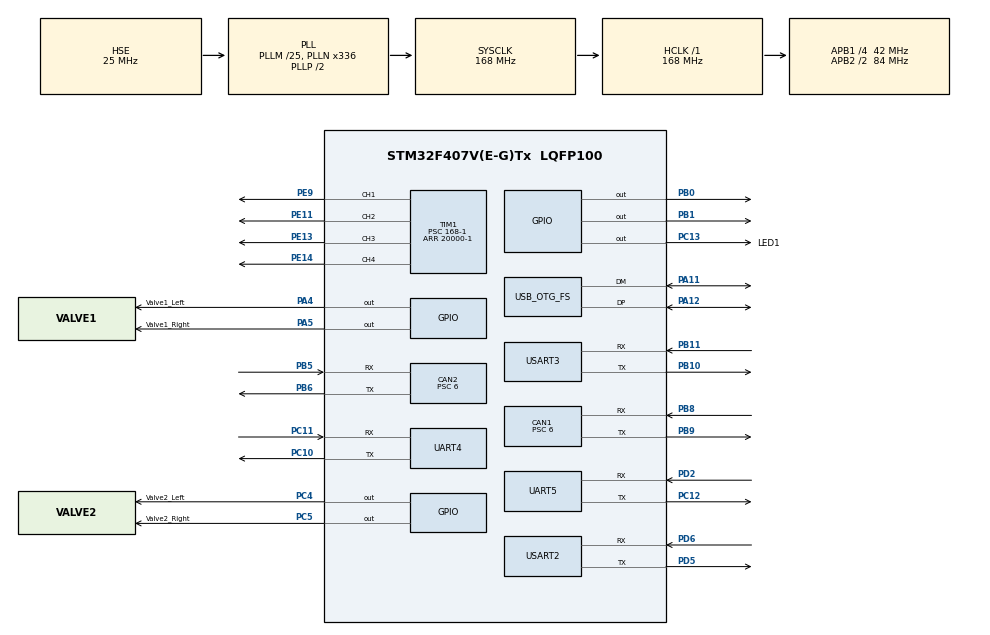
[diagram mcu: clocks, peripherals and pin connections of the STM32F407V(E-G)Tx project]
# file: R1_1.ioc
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CAN1.BS1=CAN_BS1_3TQ
CAN1.BS2=CAN_BS2_3TQ
CAN1.CalculateBaudRate=1000000
CAN1.CalculateTimeBit=1000
CAN1.CalculateTimeQuantum=142.85714285714286
CAN1.Prescaler=6
CAN2.BS1=CAN_BS1_3TQ
CAN2.BS2=CAN_BS2_3TQ
CAN2.CalculateBaudRate=1000000
CAN2.CalculateTimeBit=1000
CAN2.CalculateTimeQuantum=142.85714285714286
CAN2.Prescaler=6
Dma.Request0=UART4_RX
Dma.Request1=UART5_RX
Dma.Request2=USART2_RX
Dma.Request3=USART2_TX
Dma.Request4=USART3_RX
Dma.Request5=USART3_TX
Dma.UART4_RX.0.Direction=DMA_PERIPH_TO_MEMORY
Dma.UART4_RX.0.FIFOMode=DMA_FIFOMODE_DISABLE
Dma.UART4_RX.0.Instance=DMA1_Stream2
Dma.UART4_RX.0.MemDataAlignment=DMA_MDATAALIGN_BYTE
Dma.UART4_RX.0.MemInc=DMA_MINC_ENABLE
Dma.UART4_RX.0.Mode=DMA_NORMAL
Dma.UART4_RX.0.PeriphDataAlignment=DMA_PDATAALIGN_BYTE
Dma.UART4_RX.0.PeriphInc=DMA_PINC_DISABLE
Dma.UART4_RX.0.Priority=DMA_PRIORITY_LOW
Dma.UART5_RX.1.Direction=DMA_PERIPH_TO_MEMORY
Dma.UART5_RX.1.FIFOMode=DMA_FIFOMODE_DISABLE
Dma.UART5_RX.1.Instance=DMA1_Stream0
Dma.UART5_RX.1.MemDataAlignment=DMA_MDATAALIGN_BYTE
Dma.UART5_RX.1.MemInc=DMA_MINC_ENABLE
Dma.UART5_RX.1.Mode=DMA_NORMAL
Dma.UART5_RX.1.PeriphDataAlignment=DMA_PDATAALIGN_BYTE
Dma.UART5_RX.1.PeriphInc=DMA_PINC_DISABLE
Dma.UART5_RX.1.Priority=DMA_PRIORITY_LOW
Dma.USART2_RX.2.Direction=DMA_PERIPH_TO_MEMORY
Dma.USART2_RX.2.FIFOMode=DMA_FIFOMODE_DISABLE
Dma.USART2_RX.2.Instance=DMA1_Stream5
Dma.USART2_RX.2.MemDataAlignment=DMA_MDATAALIGN_BYTE
Dma.USART2_RX.2.MemInc=DMA_MINC_ENABLE
Dma.USART2_RX.2.Mode=DMA_NORMAL
Dma.USART2_RX.2.PeriphDataAlignment=DMA_PDATAALIGN_BYTE
Dma.USART2_RX.2.PeriphInc=DMA_PINC_DISABLE
Dma.USART2_RX.2.Priority=DMA_PRIORITY_LOW
Dma.USART2_TX.3.Direction=DMA_MEMORY_TO_PERIPH
Dma.USART2_TX.3.FIFOMode=DMA_FIFOMODE_DISABLE
Dma.USART2_TX.3.Instance=DMA1_Stream6
Dma.USART2_TX.3.MemDataAlignment=DMA_MDATAALIGN_BYTE
Dma.USART2_TX.3.MemInc=DMA_MINC_ENABLE
Dma.USART2_TX.3.Mode=DMA_NORMAL
Dma.USART2_TX.3.PeriphDataAlignment=DMA_PDATAALIGN_BYTE
Dma.USART2_TX.3.PeriphInc=DMA_PINC_DISABLE
Dma.USART2_TX.3.Priority=DMA_PRIORITY_LOW
Dma.USART3_RX.4.Direction=DMA_PERIPH_TO_MEMORY
Dma.USART3_RX.4.FIFOMode=DMA_FIFOMODE_DISABLE
Dma.USART3_RX.4.Instance=DMA1_Stream1
Dma.USART3_RX.4.MemDataAlignment=DMA_MDATAALIGN_BYTE
Dma.USART3_RX.4.MemInc=DMA_MINC_ENABLE
Dma.USART3_RX.4.Mode=DMA_NORMAL
Dma.USART3_RX.4.PeriphDataAlignment=DMA_PDATAALIGN_BYTE
Dma.USART3_RX.4.PeriphInc=DMA_PINC_DISABLE
Dma.USART3_RX.4.Priority=DMA_PRIORITY_LOW
Dma.USART3_TX.5.Direction=DMA_MEMORY_TO_PERIPH
Dma.USART3_TX.5.FIFOMode=DMA_FIFOMODE_DISABLE
Dma.USART3_TX.5.Instance=DMA1_Stream3
Dma.USART3_TX.5.MemDataAlignment=DMA_MDATAALIGN_BYTE
Dma.USART3_TX.5.MemInc=DMA_MINC_ENABLE
Dma.USART3_TX.5.Mode=DMA_NORMAL
Dma.USART3_TX.5.PeriphDataAlignment=DMA_PDATAALIGN_BYTE
Dma.USART3_TX.5.PeriphInc=DMA_PINC_DISABLE
Dma.USART3_TX.5.Priority=DMA_PRIORITY_LOW
FREERTOS.INCLUDE_uxTaskGetStackHighWaterMark=0
FREERTOS.INCLUDE_uxTaskGetStackHighWaterMark2=0
FREERTOS.INCLUDE_vTaskDelayUntil=1
FREERTOS.Tasks01=defaultTask,0,128,StartDefaultTask,Default,NULL,Dynamic,NULL,NULL
Mcu.Family=STM32F4
Mcu.Name=STM32F407V(E-G)Tx
Mcu.Package=LQFP100
NVIC.CAN1_RX0_IRQn=true\:5\:0\:false\:false\:true\:true\:true\:true\:true
NVIC.CAN1_TX_IRQn=true\:5\:0\:false\:false\:true\:true\:true\:true\:true
NVIC.CAN2_RX1_IRQn=true\:5\:0\:false\:false\:true\:true\:true\:true\:true
NVIC.CAN2_TX_IRQn=true\:5\:0\:false\:false\:true\:true\:true\:true\:true
NVIC.DMA1_Stream0_IRQn=true\:5\:0\:false\:false\:true\:true\:false\:true\:true
NVIC.DMA1_Stream1_IRQn=true\:5\:0\:false\:false\:true\:true\:false\:true\:true
NVIC.DMA1_Stream2_IRQn=true\:5\:0\:false\:false\:true\:true\:false\:true\:true
NVIC.DMA1_Stream3_IRQn=true\:5\:0\:false\:false\:true\:true\:false\:true\:true
NVIC.DMA1_Stream5_IRQn=true\:5\:0\:false\:false\:true\:true\:false\:true\:true
NVIC.DMA1_Stream6_IRQn=true\:5\:0\:false\:false\:true\:true\:false\:true\:true
NVIC.OTG_FS_IRQn=true\:5\:0\:false\:false\:true\:true\:false\:true\:true
NVIC.PriorityGroup=NVIC_PRIORITYGROUP_4
NVIC.TIM3_IRQn=true\:15\:0\:false\:false\:true\:false\:false\:true\:true
NVIC.TimeBase=TIM3_IRQn
NVIC.TimeBaseIP=TIM3
NVIC.UART4_IRQn=true\:5\:0\:false\:false\:true\:true\:true\:true\:true
NVIC.UART5_IRQn=true\:5\:0\:false\:false\:true\:true\:true\:true\:true
NVIC.USART2_IRQn=true\:5\:0\:false\:false\:true\:true\:true\:true\:true
NVIC.USART3_IRQn=true\:5\:0\:false\:false\:true\:true\:true\:true\:true
PA11.Mode=Device_Only
PA11.Signal=USB_OTG_FS_DM
PA12.Mode=Device_Only
PA12.Signal=USB_OTG_FS_DP
PA13.Mode=Serial_Wire
PA13.Signal=SYS_JTMS-SWDIO
PA14.Mode=Serial_Wire
PA14.Signal=SYS_JTCK-SWCLK
PA4.GPIO_Label=Valve1_Left
PA4.PinState=GPIO_PIN_SET
PA4.Signal=GPIO_Output
PA5.GPIO_Label=Valve1_Right
PA5.PinState=GPIO_PIN_SET
PA5.Signal=GPIO_Output
PB0.Signal=GPIO_Output
PB1.Signal=GPIO_Output
PB10.Mode=Asynchronous
PB10.Signal=USART3_TX
PB11.Mode=Asynchronous
PB11.Signal=USART3_RX
PB5.Mode=CAN_Activate
PB5.Signal=CAN2_RX
PB6.Mode=CAN_Activate
PB6.Signal=CAN2_TX
PB8.Mode=CAN_Activate
PB8.Signal=CAN1_RX
PB9.Mode=CAN_Activate
PB9.Signal=CAN1_TX
PC10.Mode=Asynchronous
PC10.Signal=UART4_TX
PC11.Mode=Asynchronous
PC11.Signal=UART4_RX
PC12.Mode=Asynchronous
PC12.Signal=UART5_TX
PC13-ANTI_TAMP.GPIO_Label=LED1
PC13-ANTI_TAMP.PinState=GPIO_PIN_SET
PC13-ANTI_TAMP.Signal=GPIO_Output
PC4.GPIO_Label=Valve2_Left
PC4.Signal=GPIO_Output
PC5.GPIO_Label=Valve2_Right
PC5.Signal=GPIO_Output
PD2.Mode=Asynchronous
PD2.Signal=UART5_RX
PD5.Mode=Asynchronous
PD5.Signal=USART2_TX
PD6.Mode=Asynchronous
PD6.Signal=USART2_RX
PE11.Signal=S_TIM1_CH2
PE13.Signal=S_TIM1_CH3
PE14.Signal=S_TIM1_CH4
PE9.Signal=S_TIM1_CH1
PH0-OSC_IN.Mode=HSE-External-Oscillator
PH0-OSC_IN.Signal=RCC_OSC_IN
PH1-OSC_OUT.Mode=HSE-External-Oscillator
PH1-OSC_OUT.Signal=RCC_OSC_OUT
ProjectManager.HeapSize=0x200
ProjectManager.StackSize=0x400
ProjectManager.TargetToolchain=MDK-ARM V5.32
RCC.48MHZClocksFreq_Value=48000000
RCC.AHBFreq_Value=168000000
RCC.APB1CLKDivider=RCC_HCLK_DIV4
RCC.APB1Freq_Value=42000000
RCC.APB1TimFreq_Value=84000000
RCC.APB2CLKDivider=RCC_HCLK_DIV2
RCC.APB2Freq_Value=84000000
RCC.APB2TimFreq_Value=168000000
RCC.CortexFreq_Value=168000000
RCC.HCLKFreq_Value=168000000
RCC.HSE_VALUE=25000000
RCC.HSI_VALUE=16000000
RCC.LSE_VALUE=32768
RCC.PLLM=25
RCC.PLLN=336
RCC.PLLQ=7
RCC.SYSCLKFreq_VALUE=168000000
RCC.SYSCLKSource=RCC_SYSCLKSOURCE_PLLCLK
RCC.VCOOutputFreq_Value=336000000
SH.S_TIM1_CH1.0=TIM1_CH1,PWM Generation1 CH1
SH.S_TIM1_CH2.0=TIM1_CH2,PWM Generation2 CH2
SH.S_TIM1_CH3.0=TIM1_CH3,PWM Generation3 CH3
SH.S_TIM1_CH4.0=TIM1_CH4,PWM Generation4 CH4
TIM1.Channel-PWM\ Generation1\ CH1=TIM_CHANNEL_1
TIM1.Channel-PWM\ Generation2\ CH2=TIM_CHANNEL_2
TIM1.Channel-PWM\ Generation3\ CH3=TIM_CHANNEL_3
TIM1.Channel-PWM\ Generation4\ CH4=TIM_CHANNEL_4
TIM1.Period=20000-1
TIM1.Prescaler=168-1
UART4.VirtualMode=Asynchronous
UART5.VirtualMode=Asynchronous
USART2.VirtualMode=VM_ASYNC
USART3.VirtualMode=VM_ASYNC
USB_DEVICE.CLASS_NAME_FS=CDC
USB_DEVICE.VirtualMode-CDC_FS=Cdc
USB_DEVICE.VirtualModeFS=Cdc_FS
USB_OTG_FS.VirtualMode=Device_Only
VP_FREERTOS_VS_CMSIS_V1.Mode=CMSIS_V1
VP_SYS_VS_tim3.Mode=TIM3
VP_TIM1_VS_ClockSourceINT.Mode=Internal
VP_USB_DEVICE_VS_USB_DEVICE_CDC_FS.Mode=CDC_FS
board=custom

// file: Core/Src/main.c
/* USER CODE BEGIN Header */
/**
  ******************************************************************************
  * @file           : main.c
  * @brief          : Main program body
  ******************************************************************************
  * @attention
  *
  * Copyright (c) 2023 STMicroelectronics.
  * All rights reserved.
  *
  * This software is licensed under terms that can be found in the LICENSE file
  * in the root directory of this software component.
  * If no LICENSE file comes with this software, it is provided AS-IS.
  *
  ******************************************************************************
  */
/* USER CODE END Header */
#include "main.h"
#include "cmsis_os.h"
#include "can.h"
#include "dma.h"
#include "tim.h"
#include "usart.h"
#include "usb_device.h"
#include "gpio.h"

/* USER CODE BEGIN Includes */
#include "my_core.h"
/* USER CODE END Includes */

void SystemClock_Config(void);
void MX_FREERTOS_Init(void);

int main(void)
{

  /* MCU Configuration--------------------------------------------------------*/

  /* Reset of all peripherals, Initializes the Flash interface and the Systick. */
  HAL_Init();

  /* Configure the system clock */
  SystemClock_Config();

  /* Initialize all configured peripherals */
  MX_GPIO_Init();
  MX_DMA_Init();
  MX_CAN1_Init();
  MX_CAN2_Init();
  MX_UART4_Init();
  MX_UART5_Init();
  MX_USART2_UART_Init();
  MX_TIM1_Init();
  MX_USART3_UART_Init();
  /* USER CODE BEGIN 2 */
   HAL_TIM_PWM_Start(&htim1, TIM_CHANNEL_1);
	HAL_TIM_PWM_Start(&htim1, TIM_CHANNEL_2);
	HAL_TIM_PWM_Start(&htim1, TIM_CHANNEL_3);
	HAL_TIM_PWM_Start(&htim1, TIM_CHANNEL_4);

	__HAL_TIM_SET_COMPARE(&htim1, TIM_CHANNEL_1,500);
	__HAL_TIM_SET_COMPARE(&htim1, TIM_CHANNEL_2,500);
	__HAL_TIM_SET_COMPARE(&htim1, TIM_CHANNEL_3,500);
	__HAL_TIM_SET_COMPARE(&htim1, TIM_CHANNEL_4,500);

	HAL_GPIO_WritePin(GPIOB,GPIO_PIN_0,GPIO_PIN_RESET);
	HAL_GPIO_WritePin(GPIOB,GPIO_PIN_1,GPIO_PIN_RESET);
	HAL_GPIO_WritePin(GPIOA, Valve1_Left_Pin, GPIO_PIN_RESET);HAL_GPIO_WritePin(GPIOA,Valve1_Right_Pin, GPIO_PIN_SET);//收回
	HAL_GPIO_WritePin(GPIOC, Valve2_Left_Pin, GPIO_PIN_RESET);HAL_GPIO_WritePin(GPIOC,Valve2_Right_Pin, GPIO_PIN_SET);
	setup();
  /* USER CODE END 2 */

  /* Call init function for freertos objects (in freertos.c) */
  MX_FREERTOS_Init();

  /* Start scheduler */
  osKernelStart();

  /* We should never get here as control is now taken by the scheduler */
  /* Infinite loop */
  while (1)
  {

  }
}

void SystemClock_Config(void)
{
  RCC_OscInitTypeDef RCC_OscInitStruct = {0};
  RCC_ClkInitTypeDef RCC_ClkInitStruct = {0};

  /** Configure the main internal regulator output voltage
  */
  __HAL_RCC_PWR_CLK_ENABLE();
  __HAL_PWR_VOLTAGESCALING_CONFIG(PWR_REGULATOR_VOLTAGE_SCALE1);

  /** Initializes the RCC Oscillators according to the specified parameters
  * in the RCC_OscInitTypeDef structure.
  */
  RCC_OscInitStruct.OscillatorType = RCC_OSCILLATORTYPE_HSE;
  RCC_OscInitStruct.HSEState = RCC_HSE_ON;
  RCC_OscInitStruct.PLL.PLLState = RCC_PLL_ON;
  RCC_OscInitStruct.PLL.PLLSource = RCC_PLLSOURCE_HSE;
  RCC_OscInitStruct.PLL.PLLM = 25;
  RCC_OscInitStruct.PLL.PLLN = 336;
  RCC_OscInitStruct.PLL.PLLP = RCC_PLLP_DIV2;
  RCC_OscInitStruct.PLL.PLLQ = 7;
  if (HAL_RCC_OscConfig(&RCC_OscInitStruct) != HAL_OK)
  {
    Error_Handler();
  }

  /** Initializes the CPU, AHB and APB buses clocks
  */
  RCC_ClkInitStruct.ClockType = RCC_CLOCKTYPE_HCLK|RCC_CLOCKTYPE_SYSCLK
                              |RCC_CLOCKTYPE_PCLK1|RCC_CLOCKTYPE_PCLK2;
  RCC_ClkInitStruct.SYSCLKSource = RCC_SYSCLKSOURCE_PLLCLK;
  RCC_ClkInitStruct.AHBCLKDivider = RCC_SYSCLK_DIV1;
  RCC_ClkInitStruct.APB1CLKDivider = RCC_HCLK_DIV4;
  RCC_ClkInitStruct.APB2CLKDivider = RCC_HCLK_DIV2;

  if (HAL_RCC_ClockConfig(&RCC_ClkInitStruct, FLASH_LATENCY_5) != HAL_OK)
  {
    Error_Handler();
  }
}

void HAL_TIM_PeriodElapsedCallback(TIM_HandleTypeDef *htim)
{
  if (htim->Instance == TIM3) {
    HAL_IncTick();
  }
}

void Error_Handler(void)
{
  __disable_irq();
  while (1)
  {
  }
}

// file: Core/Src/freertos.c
/* USER CODE BEGIN Header */
/**
  ******************************************************************************
  * File Name          : freertos.c
  * Description        : Code for freertos applications
  ******************************************************************************
  * @attention
  *
  * Copyright (c) 2023 STMicroelectronics.
  * All rights reserved.
  *
  * This software is licensed under terms that can be found in the LICENSE file
  * in the root directory of this software component.
  * If no LICENSE file comes with this software, it is provided AS-IS.
  *
  ******************************************************************************
  */
/* USER CODE END Header */

#include "FreeRTOS.h"
#include "task.h"
#include "main.h"
#include "cmsis_os.h"

/* USER CODE BEGIN Includes */
#include "Task_Init.h"
/* USER CODE END Includes */

osThreadId defaultTaskHandle;

void StartDefaultTask(void const * argument);

extern void MX_USB_DEVICE_Init(void);
void MX_FREERTOS_Init(void); /* (MISRA C 2004 rule 8.1) */

/* GetIdleTaskMemory prototype (linked to static allocation support) */
void vApplicationGetIdleTaskMemory( StaticTask_t **ppxIdleTaskTCBBuffer, StackType_t **ppxIdleTaskStackBuffer, uint32_t *pulIdleTaskStackSize );

/* USER CODE BEGIN GET_IDLE_TASK_MEMORY */
static StaticTask_t xIdleTaskTCBBuffer;
static StackType_t xIdleStack[configMINIMAL_STACK_SIZE];

void vApplicationGetIdleTaskMemory( StaticTask_t **ppxIdleTaskTCBBuffer, StackType_t **ppxIdleTaskStackBuffer, uint32_t *pulIdleTaskStackSize )
{
  *ppxIdleTaskTCBBuffer = &xIdleTaskTCBBuffer;
  *ppxIdleTaskStackBuffer = &xIdleStack[0];
  *pulIdleTaskStackSize = configMINIMAL_STACK_SIZE;
  /* place for user code */
}
/* USER CODE END GET_IDLE_TASK_MEMORY */

void MX_FREERTOS_Init(void) {

  /* Create the thread(s) */
  /* definition and creation of defaultTask */
  osThreadDef(defaultTask, StartDefaultTask, osPriorityNormal, 0, 128);
  defaultTaskHandle = osThreadCreate(osThread(defaultTask), NULL);

}

void StartDefaultTask(void const * argument)
{
  /* init code for USB_DEVICE */
  MX_USB_DEVICE_Init();
  /* USER CODE BEGIN StartDefaultTask */
	task_Init();
    vTaskDelete(NULL);
  /* Infinite loop */
  for(;;)
  {
    osDelay(1);
  }
  /* USER CODE END StartDefaultTask */
}
